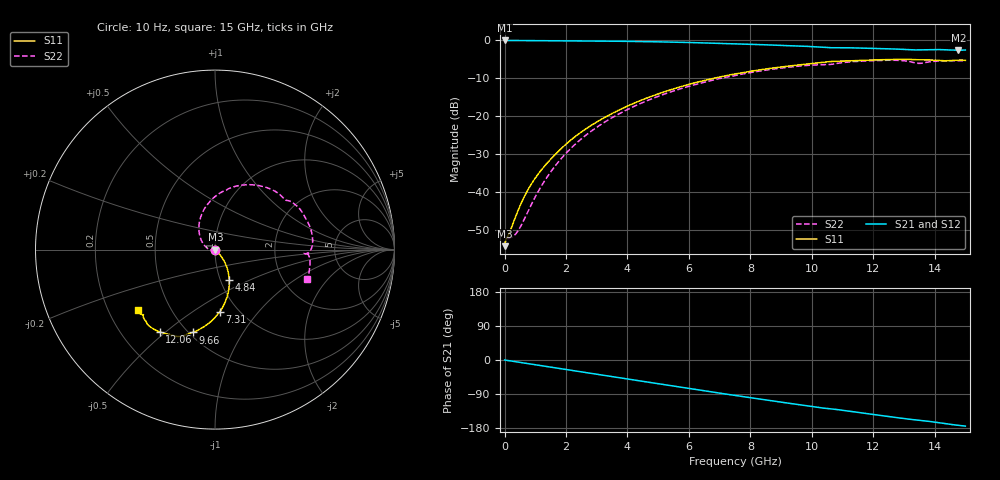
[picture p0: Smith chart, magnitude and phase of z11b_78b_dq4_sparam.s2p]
![Disclaimer] This software code/ model/ data and all associated documentation, comments
!    or other information (collectively "Software") is provided
!    "AS IS" without warranty of any kind. MICRON TECHNOLOGY, INC.
!   ("MTI") EXPRESSLY DISCLAIMS ALL WARRANTIES EXPRESS OR IMPLIED,
!    INCLUDING BUT NOT LIMITED TO, NONINFRINGEMENT OF THIRD PARTY
!   RIGHTS, AND ANY IMPLIED WARRANTIES OF MERCHANTABILITY OR FITNESS
!    FOR ANY PARTICULAR PURPOSE. MTI DOES NOT WARRANT THAT THE
!    SOFTWARE WILL MEET YOUR REQUIREMENTS, OR THAT THE OPERATION OF
!    THE SOFTWARE WILL BE UNINTERRUPTED OR ERROR-FREE. FURTHERMORE,
!    MTI DOES NOT MAKE ANY REPRESENTATIONS REGARDING THE USE OR THE
!    RESULTS OF THE USE OF THE SOFTWARE IN TERMS OF ITS CORRECTNESS,
!    ACCURACY, RELIABILITY, OR OTHERWISE. THE ENTIRE RISK ARISING OUT
!    OF USE OR PERFORMANCE OF THE SOFTWARE REMAINS WITH YOU. IN NO
!    EVENT SHALL MTI, ITS AFFILIATED COMPANIES OR THEIR SUPPLIERS BE
!    LIABLE FOR ANY DIRECT, INDIRECT, CONSEQUENTIAL, INCIDENTAL, OR
!    SPECIAL DAMAGES (INCLUDING, WITHOUT LIMITATION, DAMAGES FOR LOSS
!    OF PROFITS, BUSINESS INTERRUPTION, OR LOSS OF INFORMATION)
!    ARISING OUT OF YOUR USE OF OR INABILITY TO USE THE SOFTWARE,
!    EVEN IF MTI HAS BEEN ADVISED OF THE POSSIBILITY OF SUCH DAMAGES.
!    Because some jurisdictions prohibit the exclusion or limitation
!    of liability for consequential or incidental damages, the above
!    limitation may not apply to you.
!    Copyright 2019 Micron Technology, Inc. All rights reserved.
! Single-ended  S-parameters
!NUMBER OF PORTS = 2
!  PORT#  PORT_NAME  NET_NAME
! PORT1:  DQ4.BGA.VDDQ_VSS DQ4
! PORT2:  DQ4.Z11B_DIE.VDDQ_VSS DQ4
# HZ S  RI R 5.000000e+001
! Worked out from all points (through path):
!   1701 points, 10 Hz to 15 GHz, reference 50 ohm
!   highest |S21| = -0.02 dB at 3.162 kHz (marker M1); lowest = -2.6 dB at 14.77 GHz (marker M2)
!   group delay of S21, straight-line fit = 32.9 ps
!   lowest |S11| = -54.3 dB at 10 Hz (marker M3), VSWR 1.00, Z = 50.2 + j6.2e-08 ohm
!   |S11| at or under -10 dB: start of sweep to 6.811 GHz
!   |S22| runs from -54.3 to -5.2 dB; largest |S21 - S12| = 0
!   S11 on the Smith chart (normalised r, x): 10 Hz: 1.00, +0.00; 4.84 GHz: 1.10, -0.39; 7.31 GHz: 0.82, -0.65; 9.66 GHz: 0.52, -0.62; 12.06 GHz: 0.36, -0.48; 15 GHz: 0.33, -0.31
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10  0.00193 6.18e-10  0.9981 -3.05e-09  0.9981 -3.05e-09  0.00193 6.16e-10
3162.28  0.00193 1.95e-07  0.9981 -9.65e-07  0.9981 -9.65e-07  0.00193 1.95e-07
5.4117e7  0.00238 -0.000201  0.9973 -0.0124  0.9973 -0.0124  0.00234 -0.000207
2.9e8  0.00339 -0.0021  0.9945 -0.0646  0.9945 -0.0646  0.00172 -0.00199
4.6e8  0.00469 -0.00373  0.9904 -0.1018  0.9904 -0.1018  0.000577 -0.00313
9.6e8  0.0103 -0.0102  0.9708 -0.2085  0.9708 -0.2085  -0.00596 -0.00543
1.66e9  0.0221 -0.0227  0.9247 -0.3515  0.9247 -0.3515  -0.0222 -0.00346
2.51e9  0.0409 -0.0471  0.8405 -0.5124  0.8405 -0.5124  -0.049 0.0129
3.56e9  0.0636 -0.092  0.6962 -0.6841  0.6962 -0.6841  -0.0791 0.0591
4.84e9  0.0794 -0.169  0.4718 -0.8359  0.4718 -0.8359  -0.0874 0.1489
5.01e9  0.0797 -0.1807  0.4391 -0.8505  0.4391 -0.8505  -0.0848 0.1626
6.09e9  0.0684 -0.2604  0.2234 -0.9093  0.2234 -0.9093  -0.0428 0.2507
7.31e9  0.0259 -0.3486  -0.0193 -0.906  -0.0193 -0.906  0.0545 0.3286
7.51e9  0.0145 -0.3607  -0.0546 -0.8991  -0.0546 -0.8991  0.0711 0.3369
9.66e9  -0.1252 -0.4613  -0.4045 -0.7353  -0.4045 -0.7353  0.3179 0.3332
1.001e10  -0.1508 -0.4706  -0.4496 -0.6949  -0.4496 -0.6949  0.3549 0.3118
1.206e10  -0.3082 -0.4589  -0.6354 -0.4563  -0.6354 -0.4563  0.5217 0.1435
1.251e10  -0.3371 -0.4452  -0.665 -0.3961  -0.665 -0.3961  0.5409 0.0834
1.318e10  -0.3755 -0.4168  -0.6899 -0.3031  -0.6899 -0.3031  0.5248 -0.0143
1.349e10  -0.3843 -0.4002  -0.6976 -0.2725  -0.6976 -0.2725  0.4973 -0.0192
1.477e10  -0.4206 -0.355  -0.7366 -0.1001  -0.7366 -0.1001  0.5211 -0.1411
1.5e10  -0.4306 -0.3339  -0.7428 -0.0725  -0.7428 -0.0725  0.5137 -0.1645
